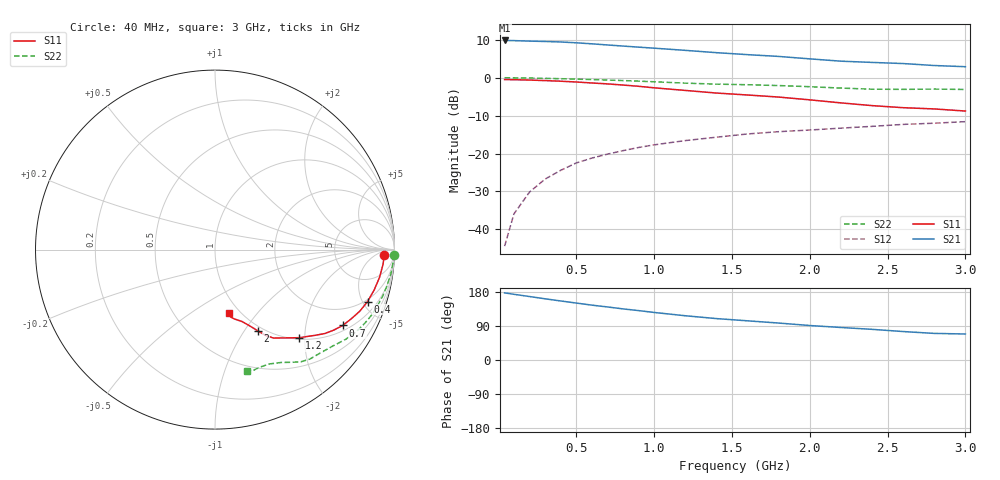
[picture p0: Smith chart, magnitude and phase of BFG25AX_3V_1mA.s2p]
! Filename:  BFG25AXI.S2P  Version:  2.0
! Philips part #: BFG25A/X  Date: May 1990
! Bias condition: Vce=3.0V, Ic=1.0mA
#  MHz  S  MA  R  50
! Freq  S11  S21  S12  S22  !GUM [dB]
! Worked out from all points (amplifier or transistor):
!   21 points, 40 MHz to 3 GHz, reference 50 ohm
!   highest |S21| = 9.8 dB at 40 MHz (marker M1)
!   |S21| within 3 dB of that: start of sweep to 1.329 GHz
!   unconditionally stable (mu >= 1): nowhere
!   at 300 MHz: K = 0.12, MSG = 18.1 dB, |S12| = -26.7 dB
!   at 1 GHz: K = 0.37, MSG = 12.8 dB, |S12| = -17.7 dB
!   at 3 GHz: K = 0.81, MSG = 7.2 dB, |S12| = -11.6 dB
!   lowest NFmin = 1.70 dB at 500 MHz
!   S11 on the Smith chart (normalised r, x): 40 MHz: 26, -15; 400 MHz: 1.82, -5.45; 700 MHz: 1.20, -3.23; 1.2 GHz: 1.03, -1.88; 2 GHz: 0.94, -1.15; 3 GHz: 0.89, -0.72
40  0.943 -1.9  3.095 177.1  0.006 89.8  0.998 -1.6
100  0.94 -4.9  3.08 173.4  0.016 87.7  0.995 -4.0
200  0.93 -9.5  3.034 167.5  0.031 83.4  0.989 -8.0
300  0.915 -14.2  3 161.5  0.046 80.4  0.979 -12.0
400  0.898 -18.8  2.956 155.8  0.06 77.3  0.969 -15.7
500  0.877 -23.0  2.882 150.3  0.075 74.6  0.957 -19.4
600  0.851 -27.0  2.795 144.8  0.087 72.6  0.945 -22.9
700  0.828 -30.7  2.7 140.0  0.098 70.4  0.931 -26.0
800  0.799 -34.2  2.611 134.9  0.109 68.5  0.916 -29.0
900  0.77 -37.4  2.527 130.4  0.12 66.5  0.9 -31.8
1000  0.735 -40.5  2.449 125.5  0.13 64.5  0.883 -34.5
1200  0.679 -46.3  2.292 116.8  0.148 60.3  0.847 -39.5
1400  0.627 -51.7  2.137 109.3  0.164 58.0  0.822 -44.5
1600  0.591 -56.5  2.012 103.4  0.181 55.9  0.807 -49.1
1800  0.555 -59.5  1.906 97.5  0.194 53.4  0.787 -52.6
2000  0.51 -62.3  1.77 91.0  0.204 51.3  0.76 -55.7
2200  0.465 -65.7  1.65 85.8  0.216 49.2  0.729 -59.6
2400  0.428 -69.4  1.589 80.9  0.228 46.9  0.705 -64.7
2600  0.402 -74.2  1.535 75.1  0.242 44.0  0.701 -69.4
2800  0.387 -76.7  1.446 70.2  0.251 42.8  0.707 -72.8
3000  0.363 -78.0  1.395 68.6  0.263 42.8  0.699 -75.4
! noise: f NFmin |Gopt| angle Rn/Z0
500  1.7  0.83  5  2.6
1000  1.8  0.78  13  2.8
2000  2.1  0.76  37  2
